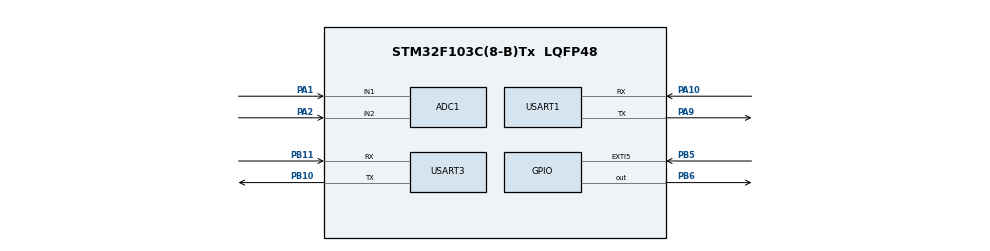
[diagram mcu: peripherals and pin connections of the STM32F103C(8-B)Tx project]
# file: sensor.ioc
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ADC1.Channel-4\#ChannelRegularConversion=ADC_CHANNEL_1
ADC1.Channel-6\#ChannelRegularConversion=ADC_CHANNEL_2
ADC1.ContinuousConvMode=ENABLE
ADC1.DiscontinuousConvMode=DISABLE
ADC1.ExternalTrigConv=ADC_EXTERNALTRIGCONV_T3_TRGO
ADC1.NbrOfConversion=2
ADC1.NbrOfConversionFlag=1
ADC1.Rank-6\#ChannelRegularConversion=2
ADC1.SamplingTime-4\#ChannelRegularConversion=ADC_SAMPLETIME_239CYCLES_5
ADC1.SamplingTime-6\#ChannelRegularConversion=ADC_SAMPLETIME_239CYCLES_5
ADC1.master=1
Dma.ADC1.0.Direction=DMA_PERIPH_TO_MEMORY
Dma.ADC1.0.Instance=DMA1_Channel1
Dma.ADC1.0.MemDataAlignment=DMA_MDATAALIGN_HALFWORD
Dma.ADC1.0.MemInc=DMA_MINC_ENABLE
Dma.ADC1.0.Mode=DMA_CIRCULAR
Dma.ADC1.0.PeriphDataAlignment=DMA_PDATAALIGN_HALFWORD
Dma.ADC1.0.PeriphInc=DMA_PINC_DISABLE
Dma.ADC1.0.Priority=DMA_PRIORITY_HIGH
Dma.Request0=ADC1
Dma.Request1=USART3_RX
Dma.Request2=USART3_TX
Dma.Request3=USART1_RX
Dma.Request4=USART1_TX
Dma.USART1_RX.3.Direction=DMA_PERIPH_TO_MEMORY
Dma.USART1_RX.3.Instance=DMA1_Channel5
Dma.USART1_RX.3.MemDataAlignment=DMA_MDATAALIGN_BYTE
Dma.USART1_RX.3.MemInc=DMA_MINC_ENABLE
Dma.USART1_RX.3.Mode=DMA_NORMAL
Dma.USART1_RX.3.PeriphDataAlignment=DMA_PDATAALIGN_BYTE
Dma.USART1_RX.3.PeriphInc=DMA_PINC_DISABLE
Dma.USART1_RX.3.Priority=DMA_PRIORITY_LOW
Dma.USART1_TX.4.Direction=DMA_MEMORY_TO_PERIPH
Dma.USART1_TX.4.Instance=DMA1_Channel4
Dma.USART1_TX.4.MemDataAlignment=DMA_MDATAALIGN_BYTE
Dma.USART1_TX.4.MemInc=DMA_MINC_ENABLE
Dma.USART1_TX.4.Mode=DMA_NORMAL
Dma.USART1_TX.4.PeriphDataAlignment=DMA_PDATAALIGN_BYTE
Dma.USART1_TX.4.PeriphInc=DMA_PINC_DISABLE
Dma.USART1_TX.4.Priority=DMA_PRIORITY_LOW
Dma.USART3_RX.1.Direction=DMA_PERIPH_TO_MEMORY
Dma.USART3_RX.1.Instance=DMA1_Channel3
Dma.USART3_RX.1.MemDataAlignment=DMA_MDATAALIGN_BYTE
Dma.USART3_RX.1.MemInc=DMA_MINC_ENABLE
Dma.USART3_RX.1.Mode=DMA_NORMAL
Dma.USART3_RX.1.PeriphDataAlignment=DMA_PDATAALIGN_BYTE
Dma.USART3_RX.1.PeriphInc=DMA_PINC_DISABLE
Dma.USART3_RX.1.Priority=DMA_PRIORITY_LOW
Dma.USART3_TX.2.Direction=DMA_MEMORY_TO_PERIPH
Dma.USART3_TX.2.Instance=DMA1_Channel2
Dma.USART3_TX.2.MemDataAlignment=DMA_MDATAALIGN_BYTE
Dma.USART3_TX.2.MemInc=DMA_MINC_ENABLE
Dma.USART3_TX.2.Mode=DMA_NORMAL
Dma.USART3_TX.2.PeriphDataAlignment=DMA_PDATAALIGN_BYTE
Dma.USART3_TX.2.PeriphInc=DMA_PINC_DISABLE
Dma.USART3_TX.2.Priority=DMA_PRIORITY_LOW
Mcu.Family=STM32F1
Mcu.Name=STM32F103C(8-B)Tx
Mcu.Package=LQFP48
NVIC.ADC1_2_IRQn=true\:0\:0\:false\:false\:true\:true\:true
NVIC.DMA1_Channel1_IRQn=true\:0\:0\:false\:false\:true\:false\:true
NVIC.DMA1_Channel2_IRQn=true\:0\:0\:false\:false\:true\:false\:true
NVIC.DMA1_Channel3_IRQn=true\:0\:0\:false\:false\:true\:false\:true
NVIC.DMA1_Channel4_IRQn=true\:0\:0\:false\:false\:true\:false\:true
NVIC.DMA1_Channel5_IRQn=true\:0\:0\:false\:false\:true\:false\:true
NVIC.EXTI9_5_IRQn=true\:1\:0\:true\:false\:true\:true\:true
NVIC.PriorityGroup=NVIC_PRIORITYGROUP_4
NVIC.TIM3_IRQn=true\:1\:0\:true\:false\:true\:true\:true
NVIC.USART1_IRQn=true\:1\:0\:true\:false\:true\:true\:true
NVIC.USART3_IRQn=true\:2\:0\:true\:false\:true\:true\:true
PA1.GPIO_Mode=GPIO_MODE_ANALOG
PA1.Signal=ADCx_IN1
PA10.GPIO_Mode=GPIO_MODE_INPUT
PA10.GPIO_PuPd=GPIO_NOPULL
PA10.Mode=Asynchronous
PA10.Signal=USART1_RX
PA13.Mode=Serial_Wire
PA13.Signal=SYS_JTMS-SWDIO
PA14.Mode=Serial_Wire
PA14.Signal=SYS_JTCK-SWCLK
PA2.GPIO_Mode=GPIO_MODE_ANALOG
PA2.Signal=ADCx_IN2
PA9.GPIO_Mode=GPIO_MODE_AF_PP
PA9.GPIO_Speed=GPIO_SPEED_FREQ_HIGH
PA9.Mode=Asynchronous
PA9.Signal=USART1_TX
PB10.GPIO_Mode=GPIO_MODE_AF_PP
PB10.GPIO_Speed=GPIO_SPEED_FREQ_HIGH
PB10.Mode=Asynchronous
PB10.Signal=USART3_TX
PB11.GPIO_Mode=GPIO_MODE_INPUT
PB11.GPIO_PuPd=GPIO_NOPULL
PB11.Mode=Asynchronous
PB11.Signal=USART3_RX
PB5.GPIO_ModeDefaultEXTI=GPIO_MODE_IT_RISING
PB5.GPIO_PuPd=GPIO_NOPULL
PB5.Signal=GPXTI5
PB6.GPIO_ModeDefaultOutputPP=GPIO_MODE_OUTPUT_PP
PB6.GPIO_PuPd=GPIO_NOPULL
PB6.GPIO_Speed=GPIO_SPEED_FREQ_LOW
PB6.PinState=GPIO_PIN_RESET
PB6.Signal=GPIO_Output
PD0-OSC_IN.Mode=HSE-External-Oscillator
PD0-OSC_IN.Signal=RCC_OSC_IN
PD1-OSC_OUT.Mode=HSE-External-Oscillator
PD1-OSC_OUT.Signal=RCC_OSC_OUT
ProjectManager.HeapSize=0x200
ProjectManager.StackSize=0x400
ProjectManager.TargetToolchain=STM32CubeIDE
RCC.APB1Freq_Value=8000000
RCC.APB2Freq_Value=8000000
SH.ADCx_IN1.0=ADC1_IN1,IN1
SH.ADCx_IN2.0=ADC1_IN2,IN2
TIM3.Period=19
TIM3.Prescaler=9
TIM3.TIM_MasterOutputTrigger=TIM_TRGO_UPDATE
USART1.VirtualMode=VM_ASYNC
USART3.VirtualMode=VM_ASYNC
VP_TIM3_VS_ClockSourceINT.Mode=Internal
board=custom

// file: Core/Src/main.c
/* USER CODE BEGIN Header */
/**
  ******************************************************************************
  * @file           : main.c
  * @brief          : Main program body
  ******************************************************************************
  * @attention
  *
  * <h2><center>&copy; Copyright (c) 2020 STMicroelectronics.
  * All rights reserved.</center></h2>
  *
  * This software component is licensed by ST under BSD 3-Clause license,
  * the "License"; You may not use this file except in compliance with the
  * License. You may obtain a copy of the License at:
  *                        opensource.org/licenses/BSD-3-Clause
  *
  ******************************************************************************
  */
/* USER CODE END Header */

#include "main.h"

/* USER CODE BEGIN Includes */
#include "stdio.h"

/* USER CODE END Includes */

/* USER CODE BEGIN PD */

// 串口1发送数据到调试助手
#define logSend(...) HAL_UART_Transmit(&huart1,\
										l_buf,\
										sprintf((char *)l_buf, __VA_ARGS__),\
										0xffff)
#define logSendIT(...) HAL_UART_Transmit_IT(&huart1,\
										l_buf,\
										sprintf((char *)l_buf, __VA_ARGS__))
#define logSendDMA(...) HAL_UART_Transmit_DMA(&huart1,\
										l_buf,\
										sprintf((char *)l_buf, __VA_ARGS__))
/* USER CODE END PD */

ADC_HandleTypeDef hadc1;
DMA_HandleTypeDef hdma_adc1;

TIM_HandleTypeDef htim3;

UART_HandleTypeDef huart1;
UART_HandleTypeDef huart3;
DMA_HandleTypeDef hdma_usart1_rx;
DMA_HandleTypeDef hdma_usart1_tx;
DMA_HandleTypeDef hdma_usart3_rx;
DMA_HandleTypeDef hdma_usart3_tx;

/* USER CODE BEGIN PV */
uint8_t l_buf[128];
uint16_t adc_buf[2];

/* USER CODE END PV */

void SystemClock_Config(void);
static void MX_GPIO_Init(void);
static void MX_DMA_Init(void);
static void MX_ADC1_Init(void);
static void MX_USART1_UART_Init(void);
static void MX_USART3_UART_Init(void);
static void MX_TIM3_Init(void);

int main(void)
{

  /* MCU Configuration--------------------------------------------------------*/

  /* Reset of all peripherals, Initializes the Flash interface and the Systick. */
  HAL_Init();

  /* Configure the system clock */
  SystemClock_Config();

  /* Initialize all configured peripherals */
  MX_GPIO_Init();
  MX_DMA_Init();
  MX_ADC1_Init();
  MX_USART1_UART_Init();
  MX_USART3_UART_Init();
  MX_TIM3_Init();
  /* USER CODE BEGIN 2 */
  logSendIT("1of");
  HAL_Delay(20);
  // HAL_ADC_Start_DMA(&hadc1, (uint32_t*)adc_buf, 2);

  HAL_ADCEx_Calibration_Start(&hadc1);
  HAL_TIM_Base_Start(&htim3);
  HAL_ADC_Start_DMA(&hadc1, (uint32_t*)adc_buf, 4);

  logSendIT("2ob");

  /* USER CODE END 2 */

  /* Infinite loop */
  /* USER CODE BEGIN WHILE */
  while (1)
  {
	// logSendIT("%d, %d\n", adc_buf[0], adc_buf[1]);
	// HAL_Delay(10);
    /* USER CODE END WHILE */

  }
}

void SystemClock_Config(void)
{
  RCC_OscInitTypeDef RCC_OscInitStruct = {0};
  RCC_ClkInitTypeDef RCC_ClkInitStruct = {0};
  RCC_PeriphCLKInitTypeDef PeriphClkInit = {0};

  /** Initializes the CPU, AHB and APB busses clocks
  */
  RCC_OscInitStruct.OscillatorType = RCC_OSCILLATORTYPE_HSI;
  RCC_OscInitStruct.HSIState = RCC_HSI_ON;
  RCC_OscInitStruct.HSICalibrationValue = RCC_HSICALIBRATION_DEFAULT;
  RCC_OscInitStruct.PLL.PLLState = RCC_PLL_NONE;
  if (HAL_RCC_OscConfig(&RCC_OscInitStruct) != HAL_OK)
  {
    Error_Handler();
  }
  /** Initializes the CPU, AHB and APB busses clocks
  */
  RCC_ClkInitStruct.ClockType = RCC_CLOCKTYPE_HCLK|RCC_CLOCKTYPE_SYSCLK
                              |RCC_CLOCKTYPE_PCLK1|RCC_CLOCKTYPE_PCLK2;
  RCC_ClkInitStruct.SYSCLKSource = RCC_SYSCLKSOURCE_HSI;
  RCC_ClkInitStruct.AHBCLKDivider = RCC_SYSCLK_DIV1;
  RCC_ClkInitStruct.APB1CLKDivider = RCC_HCLK_DIV1;
  RCC_ClkInitStruct.APB2CLKDivider = RCC_HCLK_DIV1;

  if (HAL_RCC_ClockConfig(&RCC_ClkInitStruct, FLASH_LATENCY_0) != HAL_OK)
  {
    Error_Handler();
  }
  PeriphClkInit.PeriphClockSelection = RCC_PERIPHCLK_ADC;
  PeriphClkInit.AdcClockSelection = RCC_ADCPCLK2_DIV2;
  if (HAL_RCCEx_PeriphCLKConfig(&PeriphClkInit) != HAL_OK)
  {
    Error_Handler();
  }
}

static void MX_ADC1_Init(void)
{

  ADC_ChannelConfTypeDef sConfig = {0};

  /** Common config
  */
  hadc1.Instance = ADC1;
  hadc1.Init.ScanConvMode = ADC_SCAN_ENABLE;
  hadc1.Init.ContinuousConvMode = ENABLE;
  hadc1.Init.DiscontinuousConvMode = DISABLE;
  hadc1.Init.ExternalTrigConv = ADC_EXTERNALTRIGCONV_T3_TRGO;
  hadc1.Init.DataAlign = ADC_DATAALIGN_RIGHT;
  hadc1.Init.NbrOfConversion = 2;
  if (HAL_ADC_Init(&hadc1) != HAL_OK)
  {
    Error_Handler();
  }
  /** Configure Regular Channel
  */
  sConfig.Channel = ADC_CHANNEL_1;
  sConfig.Rank = ADC_REGULAR_RANK_1;
  sConfig.SamplingTime = ADC_SAMPLETIME_239CYCLES_5;
  if (HAL_ADC_ConfigChannel(&hadc1, &sConfig) != HAL_OK)
  {
    Error_Handler();
  }
  /** Configure Regular Channel
  */
  sConfig.Channel = ADC_CHANNEL_2;
  sConfig.Rank = ADC_REGULAR_RANK_2;
  if (HAL_ADC_ConfigChannel(&hadc1, &sConfig) != HAL_OK)
  {
    Error_Handler();
  }

}

static void MX_TIM3_Init(void)
{

  TIM_ClockConfigTypeDef sClockSourceConfig = {0};
  TIM_MasterConfigTypeDef sMasterConfig = {0};

  htim3.Instance = TIM3;
  htim3.Init.Prescaler = 9;
  htim3.Init.CounterMode = TIM_COUNTERMODE_UP;
  htim3.Init.Period = 19;
  htim3.Init.ClockDivision = TIM_CLOCKDIVISION_DIV1;
  htim3.Init.AutoReloadPreload = TIM_AUTORELOAD_PRELOAD_DISABLE;
  if (HAL_TIM_Base_Init(&htim3) != HAL_OK)
  {
    Error_Handler();
  }
  sClockSourceConfig.ClockSource = TIM_CLOCKSOURCE_INTERNAL;
  if (HAL_TIM_ConfigClockSource(&htim3, &sClockSourceConfig) != HAL_OK)
  {
    Error_Handler();
  }
  sMasterConfig.MasterOutputTrigger = TIM_TRGO_UPDATE;
  sMasterConfig.MasterSlaveMode = TIM_MASTERSLAVEMODE_DISABLE;
  if (HAL_TIMEx_MasterConfigSynchronization(&htim3, &sMasterConfig) != HAL_OK)
  {
    Error_Handler();
  }

}

static void MX_USART1_UART_Init(void)
{

  huart1.Instance = USART1;
  huart1.Init.BaudRate = 115200;
  huart1.Init.WordLength = UART_WORDLENGTH_8B;
  huart1.Init.StopBits = UART_STOPBITS_1;
  huart1.Init.Parity = UART_PARITY_NONE;
  huart1.Init.Mode = UART_MODE_TX_RX;
  huart1.Init.HwFlowCtl = UART_HWCONTROL_NONE;
  huart1.Init.OverSampling = UART_OVERSAMPLING_16;
  if (HAL_UART_Init(&huart1) != HAL_OK)
  {
    Error_Handler();
  }

}

static void MX_USART3_UART_Init(void)
{

  huart3.Instance = USART3;
  huart3.Init.BaudRate = 115200;
  huart3.Init.WordLength = UART_WORDLENGTH_8B;
  huart3.Init.StopBits = UART_STOPBITS_1;
  huart3.Init.Parity = UART_PARITY_NONE;
  huart3.Init.Mode = UART_MODE_TX_RX;
  huart3.Init.HwFlowCtl = UART_HWCONTROL_NONE;
  huart3.Init.OverSampling = UART_OVERSAMPLING_16;
  if (HAL_UART_Init(&huart3) != HAL_OK)
  {
    Error_Handler();
  }

}

static void MX_DMA_Init(void)
{

  /* DMA controller clock enable */
  __HAL_RCC_DMA1_CLK_ENABLE();

  /* DMA interrupt init */
  /* DMA1_Channel1_IRQn interrupt configuration */
  HAL_NVIC_SetPriority(DMA1_Channel1_IRQn, 0, 0);
  HAL_NVIC_EnableIRQ(DMA1_Channel1_IRQn);
  /* DMA1_Channel2_IRQn interrupt configuration */
  HAL_NVIC_SetPriority(DMA1_Channel2_IRQn, 0, 0);
  HAL_NVIC_EnableIRQ(DMA1_Channel2_IRQn);
  /* DMA1_Channel3_IRQn interrupt configuration */
  HAL_NVIC_SetPriority(DMA1_Channel3_IRQn, 0, 0);
  HAL_NVIC_EnableIRQ(DMA1_Channel3_IRQn);
  /* DMA1_Channel4_IRQn interrupt configuration */
  HAL_NVIC_SetPriority(DMA1_Channel4_IRQn, 0, 0);
  HAL_NVIC_EnableIRQ(DMA1_Channel4_IRQn);
  /* DMA1_Channel5_IRQn interrupt configuration */
  HAL_NVIC_SetPriority(DMA1_Channel5_IRQn, 0, 0);
  HAL_NVIC_EnableIRQ(DMA1_Channel5_IRQn);

}

static void MX_GPIO_Init(void)
{
  GPIO_InitTypeDef GPIO_InitStruct = {0};

  /* GPIO Ports Clock Enable */
  __HAL_RCC_GPIOD_CLK_ENABLE();
  __HAL_RCC_GPIOA_CLK_ENABLE();
  __HAL_RCC_GPIOB_CLK_ENABLE();

  /*Configure GPIO pin Output Level */
  HAL_GPIO_WritePin(GPIOB, GPIO_PIN_6, GPIO_PIN_RESET);

  /*Configure GPIO pin : PB5 */
  GPIO_InitStruct.Pin = GPIO_PIN_5;
  GPIO_InitStruct.Mode = GPIO_MODE_IT_RISING;
  GPIO_InitStruct.Pull = GPIO_NOPULL;
  HAL_GPIO_Init(GPIOB, &GPIO_InitStruct);

  /*Configure GPIO pin : PB6 */
  GPIO_InitStruct.Pin = GPIO_PIN_6;
  GPIO_InitStruct.Mode = GPIO_MODE_OUTPUT_PP;
  GPIO_InitStruct.Pull = GPIO_NOPULL;
  GPIO_InitStruct.Speed = GPIO_SPEED_FREQ_LOW;
  HAL_GPIO_Init(GPIOB, &GPIO_InitStruct);

  /* EXTI interrupt init*/
  HAL_NVIC_SetPriority(EXTI9_5_IRQn, 1, 0);
  HAL_NVIC_EnableIRQ(EXTI9_5_IRQn);

}

/* USER CODE BEGIN 4 */
// 触摸开关控制灯的亮灭
void HAL_GPIO_EXTI_Callback(uint16_t GPIO_Pin)
{
	if(GPIO_Pin == GPIO_PIN_5){
		HAL_GPIO_TogglePin(GPIOB, GPIO_PIN_6);
	}
}

// 时钟控制adc读取
void HAL_ADC_ConvCpltCallback(ADC_HandleTypeDef* hadc){
	logSendIT("%d, %d\n", adc_buf[0], adc_buf[1]);
	HAL_Delay(100);
	/*
	if(hadc == &hadc1){
		logSendIT("%d, %d\n", adc_buf[0], adc_buf[1]);
	}*/
}

/* USER CODE END 4 */

void Error_Handler(void)
{
}

/************************ (C) COPYRIGHT STMicroelectronics *****END OF FILE****/
